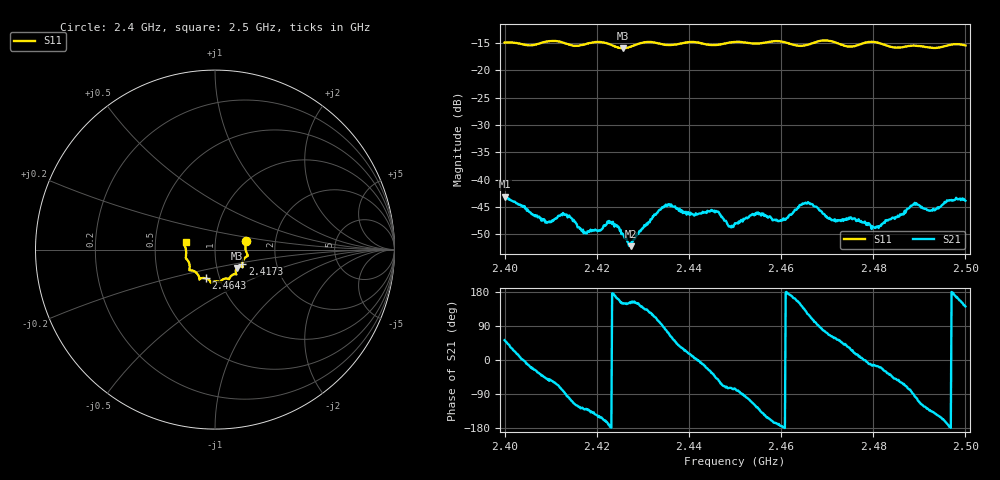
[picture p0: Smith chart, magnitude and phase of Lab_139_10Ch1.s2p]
# Hz S RI R 50
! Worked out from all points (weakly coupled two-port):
!   601 points, 2.4 GHz to 2.5 GHz, reference 50 ohm
!   highest |S21| = -43.13 dB at 2.4 GHz (marker M1); lowest = -52.2 dB at 2.4273 GHz (marker M2)
!   lowest |S11| = -15.9 dB at 2.4257 GHz (marker M3), VSWR 1.38, Z = 62.4 - j13.1 ohm
!   |S11| at or under -10 dB: start of sweep to end of sweep
!   S12 and S22 are empty: the file has one direction only
!   S11 on the Smith chart (normalised r, x): 2.4 GHz: 1.41, +0.14; 2.4173 GHz: 1.34, -0.23; 2.4643 GHz: 0.86, -0.28; 2.5 GHz: 0.72, +0.06
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2.4e9  0.1732 0.0494  0.00427 0.00552  0 0  0 0
2.409333e9  0.1825 -0.0302  0.0025 -0.00317  0 0  0 0
2.413167e9  0.1723 -0.0409  3.26e-05 -0.00479  0 0  0 0
2.416667e9  0.1529 -0.0749  -0.00206 -0.00271  0 0  0 0
2.417333e9  0.1522 -0.0824  -0.00214 -0.00252  0 0  0 0
2.423e9  0.145 -0.0933  -0.00409 -0.000182  0 0  0 0
2.425667e9  0.1225 -0.1022  -0.00274 0.0016  0 0  0 0
2.427333e9  0.1157 -0.1175  -0.00212 0.00122  0 0  0 0
2.433333e9  0.1128 -0.1365  -0.00122 0.00495  0 0  0 0
2.435333e9  0.0992 -0.1396  0.00166 0.00551  0 0  0 0
2.445333e9  0.0525 -0.1625  0.00402 -0.00315  0 0  0 0
2.45e9  0.0297 -0.1807  0.000993 -0.00385  0 0  0 0
2.454833e9  0.00325 -0.1763  -0.00275 -0.00402  0 0  0 0
2.459833e9  -0.0234 -0.1835  -0.00418 -0.00046  0 0  0 0
2.464333e9  -0.0504 -0.1603  -0.00474 0.00343  0 0  0 0
2.466667e9  -0.0762 -0.1597  -0.002 0.00561  0 0  0 0
2.4715e9  -0.0872 -0.1602  0.00225 0.00355  0 0  0 0
2.480167e9  -0.143 -0.1132  0.00352 -0.000902  0 0  0 0
2.483333e9  -0.1411 -0.0895  0.00346 -0.00252  0 0  0 0
2.488833e9  -0.1624 -0.0466  -0.000175 -0.00591  0 0  0 0
2.492333e9  -0.1606 -0.0216  -0.00349 -0.00381  0 0  0 0
2.5e9  -0.1639 0.0423  -0.005 0.00399  0 0  0 0
